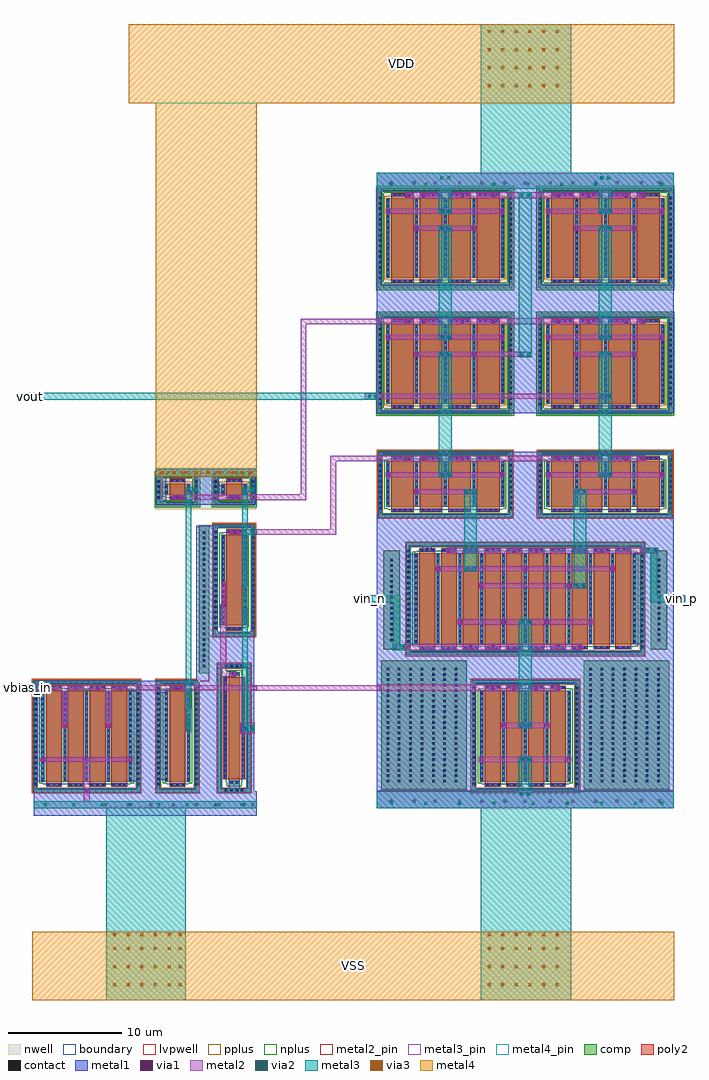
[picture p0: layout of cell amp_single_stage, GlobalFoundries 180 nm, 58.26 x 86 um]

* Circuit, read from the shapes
.subckt amp_single_stage VDD VSS vbias_in vin_n vin_p vout
XM1 vbias_in vbias_in VSS VSS nfet_03v3 w=8u l=1.4u m=4
XM2 amp_bias_1/vbias_1 vbias_in VSS VSS nfet_03v3 w=8u l=1.4u
XM3 amp_bias_1/vbias_2 amp_bias_1/vbias_2 n1 VSS nfet_03v3 w=8u l=1.4u
XM4 n1 amp_bias_1/vbias_2 VSS VSS nfet_03v3 w=1u l=9u
XM5 n2 amp_bias_1/vbias_2 n3 VSS nfet_03v3 w=4u l=2u m=4
XM6 n2 VSS VSS VSS nfet_03v3 w=8u l=1.4u m=2
XM7 n4 vin_p n2 VSS nfet_03v3 w=8u l=1.4u m=4
XM8 n5 vin_n n4 VSS nfet_03v3 w=8u l=1.4u m=4
XM9 n4 vbias_in VSS VSS nfet_03v3 w=8u l=1.4u m=4
XM10 n5 amp_bias_1/vbias_2 vout VSS nfet_03v3 w=4u l=2u m=4
XM11 amp_bias_1/vbias_1 amp_bias_1/vbias_1 VDD VDD pfet_03v3 w=1u l=1.4u
XM12 amp_bias_1/vbias_2 amp_bias_1/vbias_1 VDD VDD pfet_03v3 w=1u l=1.4u
XM13 n3 amp_bias_1/vbias_1 n6 VDD pfet_03v3 w=7u l=2u m=4
XM14 n6 n3 VDD VDD pfet_03v3 w=7u l=2u m=4
XM15 vout amp_bias_1/vbias_1 n7 VDD pfet_03v3 w=7u l=2u m=4
XM16 n7 n3 VDD VDD pfet_03v3 w=7u l=2u m=4
.ends

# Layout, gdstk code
from math import pi, radians
import gdstk
lib = gdstk.Library(unit=1e-6, precision=1e-09)
def R(c, l, rs):  # rectangles x0, y0, x1, y1
    for r in rs: c.add(gdstk.rectangle(r[:2], r[2:], *l))
def A(c, l, x, y, w, h, nx, ny, dx, dy):  # array of equal rectangles
    R(c, l, [(x+i*dx, y+j*dy, x+i*dx+w, y+j*dy+h) for i in range(nx) for j in range(ny)])
boundary = (0, 0)
nwell = (21, 0)
comp = (22, 0)
poly2 = (30, 0)
pplus = (31, 0)
nplus = (32, 0)
contact = (33, 0)
metal1 = (34, 0)
via1 = (35, 0)
metal2 = (36, 0)
metal2_pin = (36, 10)
via2 = (38, 0)
via3 = (40, 0)
metal3 = (42, 0)
metal3_pin = (42, 10)
metal4 = (46, 0)
metal4_pin = (46, 10)
lvpwell = (204, 0)

nfet_03v3_x75x2d = lib.new_cell('nfet_03v3_X75X2D')
R(nfet_03v3_x75x2d, boundary, [(-10.29,-4.75,10.29,4.75)])
R(nfet_03v3_x75x2d, comp, [(-10.47,-4.93,10.47,-4.57), (-10.47,-4.57,-10.11,4.57), (10.11,-4.57,10.47,4.57), (-9.78,-4,9.78,4), (-10.47,4.57,10.47,4.93)])
A(nfet_03v3_x75x2d, poly2, -9.34, -4.46, 1.4, 8.92, 10, 1, 1.92, 0)
R(nfet_03v3_x75x2d, pplus, [(-10.49,-4.95,10.49,-4.55), (-10.49,-4.55,-10.08,-4.445), (10.08,-4.55,10.49,-4.445), (-10.5,-4.445,-10.08,4.445), (10.08,-4.445,10.5,4.445), (-10.49,4.445,-10.08,4.55), (10.08,4.445,10.49,4.55), (-10.49,4.55,10.49,4.95)])
R(nfet_03v3_x75x2d, nplus, [(-9.57,-4.23,9.57,-4.16), (-9.94,-4.16,9.94,4.16), (-9.57,4.16,9.57,4.23)])
A(nfet_03v3_x75x2d, contact, -9.22, -4.39, 0.22, 0.22, 3, 2, 0.47, 8.56)
A(nfet_03v3_x75x2d, contact, -7.3, -4.39, 0.22, 0.22, 3, 2, 0.47, 8.56)
A(nfet_03v3_x75x2d, contact, -5.38, -4.39, 0.22, 0.22, 3, 2, 0.47, 8.56)
A(nfet_03v3_x75x2d, contact, -3.46, -4.39, 0.22, 0.22, 3, 2, 0.47, 8.56)
A(nfet_03v3_x75x2d, contact, -1.54, -4.39, 0.22, 0.22, 3, 2, 0.47, 8.56)
A(nfet_03v3_x75x2d, contact, 0.38, -4.39, 0.22, 0.22, 3, 2, 0.47, 8.56)
A(nfet_03v3_x75x2d, contact, 2.3, -4.39, 0.22, 0.22, 3, 2, 0.47, 8.56)
A(nfet_03v3_x75x2d, contact, 4.22, -4.39, 0.22, 0.22, 3, 2, 0.47, 8.56)
A(nfet_03v3_x75x2d, contact, 6.14, -4.39, 0.22, 0.22, 3, 2, 0.47, 8.56)
A(nfet_03v3_x75x2d, contact, 8.06, -4.39, 0.22, 0.22, 3, 2, 0.47, 8.56)
A(nfet_03v3_x75x2d, contact, -10.4, -4.34, 0.22, 0.22, 1, 19, 0, 0.47)
A(nfet_03v3_x75x2d, contact, 10.18, -4.34, 0.22, 0.22, 1, 19, 0, 0.47)
A(nfet_03v3_x75x2d, contact, -9.71, -3.87, 0.22, 0.22, 11, 17, 1.92, 0.47)
A(nfet_03v3_x75x2d, metal1, -9.33, -4.395, 1.38, 0.23, 10, 2, 1.92, 8.56)
A(nfet_03v3_x75x2d, metal1, -9.715, -3.99, 0.23, 7.98, 11, 1, 1.92, 0)
R(nfet_03v3_x75x2d, metal1, [(-10.405,-4.865,10.405,-4.635), (-10.405,-4.635,-10.175,4.635), (10.175,-4.635,10.405,4.635), (-10.405,4.635,10.405,4.865)])
R(nfet_03v3_x75x2d, lvpwell, [(-10.59,-5.05,10.59,5.05)])

pfet_03v3_w5sfvu = lib.new_cell('pfet_03v3_W5SFVU')
R(pfet_03v3_w5sfvu, boundary, [(-5.73,-4.25,5.73,4.25)])
R(pfet_03v3_w5sfvu, nwell, [(-6.03,-4.55,6.03,4.55)])
R(pfet_03v3_w5sfvu, comp, [(-5.91,-4.43,5.91,-4.07), (-5.91,-4.07,-5.55,4.07), (5.55,-4.07,5.91,4.07), (-5.22,-3.5,5.22,3.5), (-5.91,4.07,5.91,4.43)])
A(pfet_03v3_w5sfvu, poly2, -4.78, -3.96, 2, 7.92, 4, 1, 2.52, 0)
R(pfet_03v3_w5sfvu, pplus, [(-5.01,-3.73,5.01,-3.66), (-5.38,-3.66,5.38,3.66), (-5.01,3.66,5.01,3.73)])
R(pfet_03v3_w5sfvu, nplus, [(-6.07,-4.59,6.07,-3.96), (-6.07,-3.96,-5.44,3.96), (5.44,-3.96,6.07,3.96), (-6.07,3.96,6.07,4.59)])
A(pfet_03v3_w5sfvu, contact, -4.595, -3.89, 0.22, 0.22, 4, 2, 0.47, 7.56)
A(pfet_03v3_w5sfvu, contact, -2.075, -3.89, 0.22, 0.22, 4, 2, 0.47, 7.56)
A(pfet_03v3_w5sfvu, contact, 0.445, -3.89, 0.22, 0.22, 4, 2, 0.47, 7.56)
A(pfet_03v3_w5sfvu, contact, 2.965, -3.89, 0.22, 0.22, 4, 2, 0.47, 7.56)
A(pfet_03v3_w5sfvu, contact, -5.84, -3.635, 0.22, 0.22, 1, 16, 0, 0.47)
A(pfet_03v3_w5sfvu, contact, 5.62, -3.635, 0.22, 0.22, 1, 16, 0, 0.47)
A(pfet_03v3_w5sfvu, contact, -5.15, -3.4, 0.22, 0.22, 5, 15, 2.52, 0.47)
A(pfet_03v3_w5sfvu, metal1, -4.77, -3.895, 1.98, 0.23, 4, 2, 2.52, 7.56)
A(pfet_03v3_w5sfvu, metal1, -5.155, -3.49, 0.23, 6.98, 5, 1, 2.52, 0)
R(pfet_03v3_w5sfvu, metal1, [(-5.845,-4.365,5.845,-4.135), (-5.845,-4.135,-5.615,4.135), (5.615,-4.135,5.845,4.135), (-5.845,4.135,5.845,4.365)])

nfet_03v3_d3xtxl = lib.new_cell('nfet_03v3_D3XTXL')
R(nfet_03v3_d3xtxl, boundary, [(-5.73,-2.75,5.73,2.75)])
R(nfet_03v3_d3xtxl, comp, [(-5.91,-2.93,5.91,-2.57), (-5.91,-2.57,-5.55,2.57), (5.55,-2.57,5.91,2.57), (-5.22,-2,5.22,2), (-5.91,2.57,5.91,2.93)])
A(nfet_03v3_d3xtxl, poly2, -4.78, -2.46, 2, 4.92, 4, 1, 2.52, 0)
R(nfet_03v3_d3xtxl, pplus, [(-5.93,-2.95,5.93,-2.55), (-5.93,-2.55,-5.52,-2.445), (5.52,-2.55,5.93,-2.445), (-5.94,-2.445,-5.52,2.445), (5.52,-2.445,5.94,2.445), (-5.93,2.445,-5.52,2.55), (5.52,2.445,5.93,2.55), (-5.93,2.55,5.93,2.95)])
R(nfet_03v3_d3xtxl, nplus, [(-5.01,-2.23,5.01,-2.16), (-5.38,-2.16,5.38,2.16), (-5.01,2.16,5.01,2.23)])
A(nfet_03v3_d3xtxl, contact, -4.595, -2.39, 0.22, 0.22, 4, 2, 0.47, 4.56)
A(nfet_03v3_d3xtxl, contact, -2.075, -2.39, 0.22, 0.22, 4, 2, 0.47, 4.56)
A(nfet_03v3_d3xtxl, contact, 0.445, -2.39, 0.22, 0.22, 4, 2, 0.47, 4.56)
A(nfet_03v3_d3xtxl, contact, 2.965, -2.39, 0.22, 0.22, 4, 2, 0.47, 4.56)
A(nfet_03v3_d3xtxl, contact, -5.84, -2.225, 0.22, 0.22, 1, 10, 0, 0.47)
A(nfet_03v3_d3xtxl, contact, 5.62, -2.225, 0.22, 0.22, 1, 10, 0, 0.47)
A(nfet_03v3_d3xtxl, contact, -5.15, -1.755, 0.22, 0.22, 5, 8, 2.52, 0.47)
A(nfet_03v3_d3xtxl, metal1, -4.77, -2.395, 1.98, 0.23, 4, 2, 2.52, 4.56)
A(nfet_03v3_d3xtxl, metal1, -5.155, -1.99, 0.23, 3.98, 5, 1, 2.52, 0)
R(nfet_03v3_d3xtxl, metal1, [(-5.845,-2.865,5.845,-2.635), (-5.845,-2.635,-5.615,2.635), (5.615,-2.635,5.845,2.635), (-5.845,2.635,5.845,2.865)])
R(nfet_03v3_d3xtxl, lvpwell, [(-6.03,-3.05,6.03,3.05)])

nfet_03v3_8eaytp = lib.new_cell('nfet_03v3_8EAYTP')
R(nfet_03v3_8eaytp, boundary, [(-4.53,-4.75,4.53,4.75)])
R(nfet_03v3_8eaytp, comp, [(-4.71,-4.93,4.71,-4.57), (-4.71,-4.57,-4.35,4.57), (4.35,-4.57,4.71,4.57), (-4.02,-4,4.02,4), (-4.71,4.57,4.71,4.93)])
A(nfet_03v3_8eaytp, poly2, -3.58, -4.46, 1.4, 8.92, 4, 1, 1.92, 0)
R(nfet_03v3_8eaytp, pplus, [(-4.73,-4.95,4.73,-4.55), (-4.73,-4.55,-4.32,-4.445), (4.32,-4.55,4.73,-4.445), (-4.74,-4.445,-4.32,4.445), (4.32,-4.445,4.74,4.445), (-4.73,4.445,-4.32,4.55), (4.32,4.445,4.73,4.55), (-4.73,4.55,4.73,4.95)])
R(nfet_03v3_8eaytp, nplus, [(-3.81,-4.23,3.81,-4.16), (-4.18,-4.16,4.18,4.16), (-3.81,4.16,3.81,4.23)])
A(nfet_03v3_8eaytp, contact, -3.46, -4.39, 0.22, 0.22, 3, 2, 0.47, 8.56)
A(nfet_03v3_8eaytp, contact, -1.54, -4.39, 0.22, 0.22, 3, 2, 0.47, 8.56)
A(nfet_03v3_8eaytp, contact, 0.38, -4.39, 0.22, 0.22, 3, 2, 0.47, 8.56)
A(nfet_03v3_8eaytp, contact, 2.3, -4.39, 0.22, 0.22, 3, 2, 0.47, 8.56)
A(nfet_03v3_8eaytp, contact, -4.64, -4.34, 0.22, 0.22, 1, 19, 0, 0.47)
A(nfet_03v3_8eaytp, contact, 4.42, -4.34, 0.22, 0.22, 1, 19, 0, 0.47)
A(nfet_03v3_8eaytp, contact, -3.95, -3.87, 0.22, 0.22, 5, 17, 1.92, 0.47)
A(nfet_03v3_8eaytp, metal1, -3.57, -4.395, 1.38, 0.23, 4, 2, 1.92, 8.56)
A(nfet_03v3_8eaytp, metal1, -3.955, -3.99, 0.23, 7.98, 5, 1, 1.92, 0)
R(nfet_03v3_8eaytp, metal1, [(-4.645,-4.865,4.645,-4.635), (-4.645,-4.635,-4.415,4.635), (4.415,-4.635,4.645,4.635), (-4.645,4.635,4.645,4.865)])
R(nfet_03v3_8eaytp, lvpwell, [(-4.83,-5.05,4.83,5.05)])

amp_stg_1 = lib.new_cell('amp_stg_1')
R(amp_stg_1, comp, [(50.25,-79.45,57.75,-68.1), (68.1,-79.45,75.6,-68.1), (50.45,-67.1,51.85,-58.4), (74,-67.1,75.4,-58.4)])
R(amp_stg_1, pplus, [(50.23,-79.47,57.77,-68.08), (68.08,-79.47,75.62,-68.08), (50.43,-67.12,51.87,-58.38), (73.98,-67.12,75.42,-58.38)])
A(amp_stg_1, contact, 50.71, -78.82, 0.22, 0.22, 7, 22, 1, 0.47)
A(amp_stg_1, contact, 68.56, -78.82, 0.22, 0.22, 7, 22, 1, 0.47)
A(amp_stg_1, contact, 51.04, -66.385, 0.22, 0.22, 1, 16, 0, 0.47)
A(amp_stg_1, contact, 74.59, -66.385, 0.22, 0.22, 1, 16, 0, 0.47)
A(amp_stg_1, metal1, 58.9, -76.99, 0.38, 0.38, 3, 1, 3.84, 0)
A(amp_stg_1, metal1, 59.86, -70.65, 0.38, 0.29, 4, 1, 1.92, 0)
A(amp_stg_1, metal1, 56.98, -64.89, 0.38, 0.38, 4, 1, 3.84, 0)
A(amp_stg_1, metal1, 55.06, -60.19, 0.38, 0.38, 3, 1, 7.68, 0)
A(amp_stg_1, metal1, 50.65, -51.89, 0.38, 0.38, 3, 2, 5.04, 12.1)
A(amp_stg_1, metal1, 64.75, -51.89, 0.38, 0.38, 3, 2, 5.04, 12.1)
A(amp_stg_1, metal1, 64.825, -34.34, 0.23, 0.055, 5, 2, 2.52, 6.925)
A(amp_stg_1, metal1, 50.65, -28.69, 0.38, 0.38, 3, 1, 5.04, 0)
A(amp_stg_1, metal1, 64.75, -28.69, 0.38, 0.38, 3, 1, 5.04, 0)
R(amp_stg_1, metal1, [(49.85,-81.1,76.01,-79.5), (49.85,-79.5,58.55,-69.98), (67.31,-79.5,76.01,-69.98), (60.82,-73.99,61.2,-73.61), (64.66,-73.99,65.04,-73.61), (49.85,-69.98,76.01,-67.45), (49.85,-67.45,58.05,-67.29), (58.29,-67.45,67.57,-67.3), (67.8,-67.45,76.01,-67.29), (49.85,-67.29,52.75,-66.64), (73.11,-67.29,76.01,-66.64), (57.94,-67.04,58.32,-66.75), (59.86,-67.04,60.24,-66.75), (65.62,-67.04,66,-66.75), (67.54,-67.04,67.92,-66.75), (49.85,-66.64,53.445,-58.66), (72.415,-66.64,76.01,-58.66), (58.9,-61.69,59.28,-61.31), (66.58,-61.69,66.96,-61.31), (49.85,-58.66,52.75,-57.98), (73.11,-58.66,76.01,-57.98), (56.02,-58.55,56.4,-58.26), (61.78,-58.55,62.16,-58.26), (63.7,-58.55,64.08,-58.26), (69.46,-58.55,69.84,-58.26), (53.9,-58.485,54.68,-57.98), (71.18,-58.485,71.96,-57.98), (49.85,-57.98,76.01,-55.3), (50.04,-55.3,50.29,-55.2), (61.5,-55.3,64.37,-49.69), (75.57,-55.3,75.82,-55.2), (53.17,-53.39,53.55,-53.01), (58.21,-53.39,58.59,-53.01), (67.27,-53.39,67.65,-53.01), (72.31,-53.39,72.69,-53.01), (52.355,-50.45,52.735,-50.16), (53.84,-50.45,54.22,-50.16), (57.18,-50.45,57.56,-50.16), (59.88,-50.45,60.26,-50.16), (65.6,-50.45,65.98,-50.16), (68.3,-50.45,68.68,-50.16), (71.64,-50.45,72.02,-50.16), (73.125,-50.45,73.505,-50.16), (49.85,-46.32,50.3,-37.82), (61.5,-46.32,64.37,-37.82), (75.55,-46.32,76.01,-37.82), (53.17,-41.29,53.55,-40.91), (58.21,-41.29,58.59,-40.91), (67.27,-41.29,67.65,-40.91), (72.31,-41.29,72.69,-40.91), (52.355,-38.35,52.735,-38.06), (53.84,-38.35,54.22,-38.06), (57.18,-38.35,57.56,-38.06), (59.88,-38.35,60.26,-38.06), (65.6,-38.35,65.98,-38.06), (68.3,-38.35,68.68,-38.06), (71.64,-38.35,72.02,-38.06), (73.125,-38.35,73.505,-38.06), (49.85,-37.82,76.01,-34.98), (49.85,-34.98,50.3,-26.6), (61.5,-34.98,64.37,-26.715), (75.55,-34.98,76.01,-26.715), (65.21,-34.745,65.265,-34.515), (67.135,-34.745,67.19,-34.515), (67.73,-34.745,67.785,-34.515), (69.655,-34.745,69.71,-34.515), (70.25,-34.745,70.305,-34.515), (72.175,-34.745,72.23,-34.515), (72.77,-34.745,72.825,-34.515), (74.695,-34.745,74.75,-34.515), (53.17,-30.19,53.55,-29.81), (58.21,-30.19,58.59,-29.81), (67.27,-30.19,67.65,-29.81), (72.31,-30.19,72.69,-29.81), (52.355,-27.25,52.735,-26.96), (53.84,-27.25,54.22,-26.96), (57.18,-27.25,57.56,-26.96), (59.88,-27.25,60.26,-26.96), (65.6,-27.25,65.98,-26.96), (68.3,-27.25,68.68,-26.96), (71.64,-27.25,72.02,-26.96), (73.125,-27.25,73.505,-26.96), (61.5,-26.715,76.01,-26.6), (49.85,-26.6,76.01,-25.1)])
A(amp_stg_1, via1, 57, -80.6, 0.26, 0.26, 3, 2, 2, 54.5)
A(amp_stg_1, via1, 65, -80.6, 0.26, 0.26, 3, 2, 2, 54.5)
A(amp_stg_1, via1, 58.96, -76.93, 0.26, 0.26, 3, 1, 3.84, 0)
A(amp_stg_1, via1, 59.92, -70.62, 0.26, 0.26, 4, 1, 1.92, 0)
A(amp_stg_1, via1, 57.04, -64.83, 0.26, 0.26, 4, 1, 3.84, 0)
A(amp_stg_1, via1, 55.12, -60.13, 0.26, 0.26, 3, 1, 7.68, 0)
A(amp_stg_1, via1, 50.71, -51.83, 0.26, 0.26, 3, 2, 5.04, 12.1)
A(amp_stg_1, via1, 64.81, -51.83, 0.26, 0.26, 3, 2, 5.04, 12.1)
A(amp_stg_1, via1, 50.71, -28.63, 0.26, 0.26, 3, 1, 5.04, 0)
A(amp_stg_1, via1, 64.81, -28.63, 0.26, 0.26, 3, 1, 5.04, 0)
R(amp_stg_1, via1, [(51,-80.6,51.26,-80.34), (53,-80.6,53.26,-80.34), (54.87,-80.6,55.13,-80.34), (62.8,-80.6,63.06,-80.34), (70.87,-80.6,71.13,-80.34), (73,-80.6,73.26,-80.34), (74.6,-80.6,74.86,-80.34), (60.88,-73.93,61.14,-73.67), (64.72,-73.93,64.98,-73.67), (58,-67.04,58.26,-66.78), (59.92,-67.04,60.18,-66.78), (65.68,-67.04,65.94,-66.78), (67.6,-67.04,67.86,-66.78), (58.96,-61.63,59.22,-61.37), (66.64,-61.63,66.9,-61.37), (56.08,-58.52,56.34,-58.26), (61.84,-58.52,62.1,-58.26), (63.76,-58.52,64.02,-58.26), (69.52,-58.52,69.78,-58.26), (53.23,-53.33,53.49,-53.07), (58.27,-53.33,58.53,-53.07), (67.33,-53.33,67.59,-53.07), (72.37,-53.33,72.63,-53.07), (52.415,-50.42,52.675,-50.16), (53.9,-50.42,54.16,-50.16), (57.24,-50.42,57.5,-50.16), (59.94,-50.42,60.2,-50.16), (65.66,-50.42,65.92,-50.16), (68.36,-50.42,68.62,-50.16), (71.7,-50.42,71.96,-50.16), (73.185,-50.42,73.445,-50.16), (53.23,-41.23,53.49,-40.97), (58.27,-41.23,58.53,-40.97), (67.33,-41.23,67.59,-40.97), (72.37,-41.23,72.63,-40.97), (52.415,-38.32,52.675,-38.06), (53.9,-38.32,54.16,-38.06), (57.24,-38.32,57.5,-38.06), (59.94,-38.32,60.2,-38.06), (65.66,-38.32,65.92,-38.06), (68.36,-38.32,68.62,-38.06), (71.7,-38.32,71.96,-38.06), (73.185,-38.32,73.445,-38.06), (53.23,-30.13,53.49,-29.87), (58.27,-30.13,58.53,-29.87), (67.33,-30.13,67.59,-29.87), (72.37,-30.13,72.63,-29.87), (52.415,-27.22,52.675,-26.96), (53.9,-27.22,54.16,-26.96), (57.24,-27.22,57.5,-26.96), (59.94,-27.22,60.2,-26.96), (65.66,-27.22,65.92,-26.96), (68.36,-27.22,68.62,-26.96), (71.7,-27.22,71.96,-26.96), (73.185,-27.22,73.445,-26.96), (51,-26.1,51.26,-25.84), (53,-26.1,53.26,-25.84), (54.87,-26.1,55.13,-25.84), (62.8,-26.1,63.06,-25.84), (70.87,-26.1,71.13,-25.84), (73,-26.1,73.26,-25.84), (74.6,-26.1,74.86,-25.84)])
R(amp_stg_1, metal2, [(49.85,-81.1,76.01,-79.5), (58.89,-77.05,66.97,-76.55), (60.81,-74.05,65.05,-73.55), (49.85,-70.74,65.98,-70.24), (51.2,-67.16,67.93,-66.66), (56.97,-64.95,68.89,-64.45), (58.89,-61.72,68.32,-61.28), (55.05,-60.22,70.81,-59.78), (56.01,-58.64,74.66,-58.14), (53.16,-53.42,58.66,-52.98), (67.2,-53.42,72.7,-52.98), (50.65,-51.92,61.11,-51.48), (64.75,-51.92,75.21,-51.48), (49.85,-50.54,73.52,-50.04), (49.85,-45.02,70.54,-44.58), (53.16,-41.32,63.49,-40.88), (67.26,-41.32,72.7,-40.88), (50.65,-39.82,61.11,-39.38), (64.75,-39.82,75.21,-39.38), (49.85,-38.44,73.52,-37.94), (53.16,-30.22,58.6,-29.78), (67.26,-30.22,72.7,-29.78), (50.65,-28.72,61.11,-28.28), (64.75,-28.72,75.21,-28.28), (52.34,-27.34,73.52,-26.84), (49.85,-26.53,76.01,-25.1)])
R(amp_stg_1, metal2_pin, [(49.85,-81.1,76.01,-79.5), (49.85,-70.65,50.15,-70.35), (49.85,-50.45,50.15,-50.15), (49.85,-45,50.35,-44.6), (49.85,-38.35,50.15,-38.05), (49.85,-26.5,76.01,-25.1)])
R(amp_stg_1, via2, [(62.5,-79.99,62.76,-79.73), (63.1,-79.99,63.36,-79.73), (62.5,-76.93,62.76,-76.67), (63.1,-76.93,63.36,-76.67), (62.5,-73.93,62.76,-73.67), (63.1,-73.93,63.36,-73.67), (51.35,-67.04,51.61,-66.78), (51.95,-67.04,52.21,-66.78), (62.5,-64.83,62.76,-64.57), (63.1,-64.83,63.36,-64.57), (67.33,-61.63,67.59,-61.37), (67.93,-61.63,68.19,-61.37), (57.67,-60.13,57.93,-59.87), (58.27,-60.13,58.53,-59.87), (73.65,-58.52,73.91,-58.26), (74.25,-58.52,74.51,-58.26), (57.67,-53.33,57.93,-53.07), (58.27,-53.33,58.53,-53.07), (67.33,-53.33,67.59,-53.07), (67.93,-53.33,68.19,-53.07), (55.45,-51.83,55.71,-51.57), (56.05,-51.83,56.31,-51.57), (69.55,-51.83,69.81,-51.57), (70.15,-51.83,70.41,-51.57), (69.55,-44.93,69.81,-44.67), (70.15,-44.93,70.41,-44.67), (55.45,-41.23,55.71,-40.97), (56.05,-41.23,56.31,-40.97), (62.5,-41.23,62.76,-40.97), (63.1,-41.23,63.36,-40.97), (69.55,-41.23,69.81,-40.97), (70.15,-41.23,70.41,-40.97), (55.45,-39.73,55.71,-39.47), (56.05,-39.73,56.31,-39.47), (69.55,-39.73,69.81,-39.47), (70.15,-39.73,70.41,-39.47), (55.45,-30.13,55.71,-29.87), (56.05,-30.13,56.31,-29.87), (69.55,-30.13,69.81,-29.87), (70.15,-30.13,70.41,-29.87), (55.45,-28.63,55.71,-28.37), (56.05,-28.63,56.31,-28.37), (69.55,-28.63,69.81,-28.37), (70.15,-28.63,70.41,-28.37), (62.5,-27.22,62.76,-26.96), (63.1,-27.22,63.36,-26.96), (55.45,-25.69,55.71,-25.43), (56.05,-25.69,56.31,-25.43), (69.55,-25.69,69.81,-25.43), (70.15,-25.69,70.41,-25.43)])
R(amp_stg_1, metal3, [(62.37,-80.12,63.49,-76.55), (62.37,-74.05,63.49,-64.45), (51.22,-67.16,52.32,-66.66), (51.3,-66.66,51.9,-62.95), (49.85,-62.95,51.9,-62.35), (73.96,-62.95,76.01,-62.35), (73.96,-62.35,74.56,-58.64), (67.2,-61.72,68.32,-52.98), (57.54,-60.22,58.66,-52.98), (73.54,-58.64,74.64,-58.14), (55.32,-51.92,56.44,-40.88), (69.42,-51.92,70.54,-40.88), (62.37,-41.35,63.49,-26.84), (55.32,-39.82,56.44,-29.78), (69.42,-39.82,70.54,-29.78), (55.32,-28.72,56.44,-25.24), (69.42,-28.72,70.54,-25.24)])
R(amp_stg_1, metal3_pin, [(49.85,-62.95,50.35,-62.35), (75.51,-62.95,76.01,-62.35)])
R(amp_stg_1, lvpwell, [(50.25,-79.45,57.75,-68.1), (68.1,-79.45,75.6,-68.1), (50.45,-67.1,51.85,-58.4), (74,-67.1,75.4,-58.4)])
amp_stg_1.add(gdstk.Reference(nfet_03v3_x75x2d, (62.93,-62.65)))
amp_stg_1.add(gdstk.Reference(pfet_03v3_w5sfvu, (69.98,-30.85)))
amp_stg_1.add(gdstk.Reference(pfet_03v3_w5sfvu, (55.88,-30.85)))
amp_stg_1.add(gdstk.Reference(pfet_03v3_w5sfvu, (69.98,-41.95)))
amp_stg_1.add(gdstk.Reference(nfet_03v3_d3xtxl, (55.88,-52.55)))
amp_stg_1.add(gdstk.Reference(nfet_03v3_d3xtxl, (69.98,-52.55)))
amp_stg_1.add(gdstk.Reference(nfet_03v3_8eaytp, (62.93,-74.75)))
amp_stg_1.add(gdstk.Reference(pfet_03v3_w5sfvu, (55.88,-41.95)))
amp_stg_1.add(gdstk.Label('VDD', (62.93,-25.8), layer=36, texttype=10))
amp_stg_1.add(gdstk.Label('vout', (50.1,-44.8), layer=36, texttype=10))
amp_stg_1.add(gdstk.Label('vbias_1', (50,-38.2), layer=36, texttype=10))
amp_stg_1.add(gdstk.Label('vbias_2', (50,-50.3), layer=36, texttype=10))
amp_stg_1.add(gdstk.Label('vn', (50.1,-62.65), layer=42, texttype=10))
amp_stg_1.add(gdstk.Label('vp', (75.76,-62.65), layer=42, texttype=10))
amp_stg_1.add(gdstk.Label('vbias_tail', (50,-70.5), layer=36, texttype=10))
amp_stg_1.add(gdstk.Label('VSS', (62.93,-80.3), layer=36, texttype=10))

nfet_03v3_9xyv5a = lib.new_cell('nfet_03v3_9XYV5A')
R(nfet_03v3_9xyv5a, boundary, [(-1.65,-4.75,1.65,4.75)])
R(nfet_03v3_9xyv5a, comp, [(-1.83,-4.93,1.83,-4.57), (-1.83,-4.57,-1.47,4.57), (1.47,-4.57,1.83,4.57), (-1.14,-4,1.14,4), (-1.83,4.57,1.83,4.93)])
R(nfet_03v3_9xyv5a, poly2, [(-0.7,-4.46,0.7,4.46)])
R(nfet_03v3_9xyv5a, pplus, [(-1.85,-4.95,1.85,-4.55), (-1.85,-4.55,-1.44,-4.445), (1.44,-4.55,1.85,-4.445), (-1.86,-4.445,-1.44,4.445), (1.44,-4.445,1.86,4.445), (-1.85,4.445,-1.44,4.55), (1.44,4.445,1.85,4.55), (-1.85,4.55,1.85,4.95)])
R(nfet_03v3_9xyv5a, nplus, [(-0.93,-4.23,0.93,-4.16), (-1.3,-4.16,1.3,4.16), (-0.93,4.16,0.93,4.23)])
A(nfet_03v3_9xyv5a, contact, -0.58, -4.39, 0.22, 0.22, 3, 2, 0.47, 8.56)
A(nfet_03v3_9xyv5a, contact, -1.76, -4.34, 0.22, 0.22, 1, 19, 0, 0.47)
A(nfet_03v3_9xyv5a, contact, 1.54, -4.34, 0.22, 0.22, 1, 19, 0, 0.47)
A(nfet_03v3_9xyv5a, contact, -1.07, -3.87, 0.22, 0.22, 1, 17, 0, 0.47)
A(nfet_03v3_9xyv5a, contact, 0.85, -3.87, 0.22, 0.22, 1, 17, 0, 0.47)
R(nfet_03v3_9xyv5a, metal1, [(-1.765,-4.865,1.765,-4.635), (-1.765,-4.635,-1.535,4.635), (1.535,-4.635,1.765,4.635), (-0.69,-4.395,0.69,-4.165), (-1.075,-3.99,-0.845,3.99), (0.845,-3.99,1.075,3.99), (-0.69,4.165,0.69,4.395), (-1.765,4.635,1.765,4.865)])
R(nfet_03v3_9xyv5a, lvpwell, [(-1.95,-5.05,1.95,5.05)])

nfet_03v3_qx7unh = lib.new_cell('nfet_03v3_QX7UNH')
R(nfet_03v3_qx7unh, boundary, [(-5.45,-1.25,5.45,1.25)])
R(nfet_03v3_qx7unh, comp, [(-5.63,-1.43,5.63,-1.07), (-5.63,-1.07,-5.27,1.07), (5.27,-1.07,5.63,1.07), (-4.94,-0.5,4.94,0.5), (-5.63,1.07,5.63,1.43)])
R(nfet_03v3_qx7unh, poly2, [(-4.5,-0.96,4.5,0.96)])
R(nfet_03v3_qx7unh, pplus, [(-5.65,-1.45,5.65,-1.05), (-5.65,-1.05,-5.24,-0.945), (5.24,-1.05,5.65,-0.945), (-5.66,-0.945,-5.24,0.945), (5.24,-0.945,5.66,0.945), (-5.65,0.945,-5.24,1.05), (5.24,0.945,5.65,1.05), (-5.65,1.05,5.65,1.45)])
R(nfet_03v3_qx7unh, nplus, [(-4.73,-0.73,4.73,-0.66), (-5.1,-0.66,5.1,0.66), (-4.73,0.66,4.73,0.73)])
A(nfet_03v3_qx7unh, contact, -4.34, -0.89, 0.22, 0.22, 19, 2, 0.47, 1.56)
A(nfet_03v3_qx7unh, contact, -5.56, -0.815, 0.22, 0.22, 1, 4, 0, 0.47)
A(nfet_03v3_qx7unh, contact, 5.34, -0.815, 0.22, 0.22, 1, 4, 0, 0.47)
R(nfet_03v3_qx7unh, contact, [(-4.87,-0.345,-4.65,-0.125), (4.65,-0.345,4.87,-0.125), (-4.87,0.125,-4.65,0.345), (4.65,0.125,4.87,0.345)])
R(nfet_03v3_qx7unh, metal1, [(-5.565,-1.365,5.565,-1.135), (-5.565,-1.135,-5.335,1.135), (5.335,-1.135,5.565,1.135), (-4.49,-0.895,4.49,-0.665), (-4.875,-0.49,-4.645,0.49), (4.645,-0.49,4.875,0.49), (-4.49,0.665,4.49,0.895), (-5.565,1.135,5.565,1.365)])
R(nfet_03v3_qx7unh, lvpwell, [(-5.75,-1.55,5.75,1.55)])

pfet_03v3_ty6h95 = lib.new_cell('pfet_03v3_TY6H95')
R(pfet_03v3_ty6h95, boundary, [(-1.65,-1.25,1.65,1.25)])
R(pfet_03v3_ty6h95, nwell, [(-1.95,-1.55,1.95,1.55)])
R(pfet_03v3_ty6h95, comp, [(-1.83,-1.43,1.83,-1.07), (-1.83,-1.07,-1.47,1.07), (1.47,-1.07,1.83,1.07), (-1.14,-0.5,1.14,0.5), (-1.83,1.07,1.83,1.43)])
R(pfet_03v3_ty6h95, poly2, [(-0.7,-0.96,0.7,0.96)])
R(pfet_03v3_ty6h95, pplus, [(-0.93,-0.73,0.93,-0.66), (-1.3,-0.66,1.3,0.66), (-0.93,0.66,0.93,0.73)])
R(pfet_03v3_ty6h95, nplus, [(-1.99,-1.59,1.99,-0.96), (-1.99,-0.96,-1.36,0.96), (1.36,-0.96,1.99,0.96), (-1.99,0.96,1.99,1.59)])
A(pfet_03v3_ty6h95, contact, -0.58, -0.89, 0.22, 0.22, 3, 2, 0.47, 1.56)
A(pfet_03v3_ty6h95, contact, -1.76, -0.815, 0.22, 0.22, 1, 4, 0, 0.47)
A(pfet_03v3_ty6h95, contact, 1.54, -0.815, 0.22, 0.22, 1, 4, 0, 0.47)
R(pfet_03v3_ty6h95, contact, [(-1.07,-0.345,-0.85,-0.125), (0.85,-0.345,1.07,-0.125), (-1.07,0.125,-0.85,0.345), (0.85,0.125,1.07,0.345)])
R(pfet_03v3_ty6h95, metal1, [(-1.765,-1.365,1.765,-1.135), (-1.765,-1.135,-1.535,1.135), (1.535,-1.135,1.765,1.135), (-0.69,-0.895,0.69,-0.665), (-1.075,-0.49,-0.845,0.49), (0.845,-0.49,1.075,0.49), (-0.69,0.665,0.69,0.895), (-1.765,1.135,1.765,1.365)])

amp_bias = lib.new_cell('amp_bias')
R(amp_bias, nwell, [(12.4,-54.75,21.3,-51.25)])
R(amp_bias, comp, [(16.25,-69.2,17.15,-56.2)])
R(amp_bias, pplus, [(16.23,-69.22,17.17,-65.95), (16.23,-65.95,17.5,-65.445), (16.23,-65.445,17.49,-56.555), (16.23,-56.555,17.5,-56.18)])
A(amp_bias, contact, 16.56, -68.685, 0.22, 0.22, 1, 26, 0, 0.47)
A(amp_bias, metal1, 3.28, -70.65, 0.38, 0.29, 4, 1, 1.92, 0)
A(amp_bias, metal1, 3.29, -70.36, 0.36, 0.01, 4, 1, 1.92, 0)
R(amp_bias, metal1, [(1.7,-81.75,21.34,-79.6), (6.16,-79.6,6.54,-79.4), (10.95,-79.6,12.7,-78.6), (16,-79.6,21.12,-79.35), (16,-79.35,18.15,-78), (18.85,-79.35,19.85,-78.75), (20.55,-79.35,21.12,-78), (1.9,-78.74,2.4,-76.98), (10.3,-78.74,10.945,-77.865), (13.275,-78.74,13.505,-78.6), (10.95,-78.6,13.505,-77.865), (16,-78,18.1,-77.865), (20.7,-78,21.12,-68.55), (10.3,-77.865,13.505,-76.98), (16,-77.865,18.15,-68.55), (1.9,-76.98,2.69,-76.62), (6.17,-76.98,6.53,-76.62), (10.01,-76.98,13.505,-76.62), (1.9,-76.62,2.4,-70.76), (10.3,-76.62,13.505,-73.2), (19.97,-74.525,20.23,-73.575), (15.11,-74.35,15.51,-72.15), (4.25,-73.98,4.61,-73.62), (8.09,-73.98,8.45,-73.62), (10.3,-73.2,10.945,-72.8), (10.95,-73.2,13.505,-72.8), (10.3,-72.8,13.505,-71.01), (10.25,-71.01,13.505,-70.9), (10.25,-70.9,12.6,-70.87), (13.275,-70.9,13.505,-70.76), (10.25,-70.87,10.8,-70.76), (10.9,-70.87,12.6,-69.885), (13.875,-70.655,14.825,-70.395), (19.15,-69.5,19.55,-69.1), (16,-68.55,21.12,-67.8), (16,-67.8,21.115,-65.8), (16,-65.8,18,-65.57), (20.7,-65.8,21.115,-65.57), (16,-65.57,17.9,-56.2), (20.11,-63.6,20.51,-61.4), (18.19,-63.35,18.59,-61.15), (18.875,-56.88,19.825,-56.62), (12.45,-54.365,21.25,-54.135), (12.45,-54.135,13.38,-53.35), (16,-54.135,18,-53.3), (20.85,-54.135,21.25,-51.865), (13.875,-53.83,14.825,-53.57), (18.875,-53.83,19.825,-53.57), (12.45,-53.35,13.5,-52.65), (16,-53.3,18.45,-53.2), (15.11,-53.2,15.51,-52.8), (16,-53.2,18.5,-52.8), (20.11,-53.2,20.51,-52.8), (16,-52.8,18.45,-52.7), (16,-52.7,18,-51.865), (12.45,-52.65,13.38,-51.865), (12.45,-51.865,21.34,-51.25)])
A(amp_bias, via1, 7.87, -80.93, 0.26, 0.26, 7, 1, 2, 0)
A(amp_bias, via1, 2.38, -76.93, 0.26, 0.26, 3, 1, 3.84, 0)
A(amp_bias, via1, 15.18, -74.205, 0.26, 0.26, 1, 4, 0, 0.55)
A(amp_bias, via1, 3.34, -70.62, 0.26, 0.26, 4, 1, 1.92, 0)
A(amp_bias, via1, 20.18, -63.455, 0.26, 0.26, 1, 4, 0, 0.55)
A(amp_bias, via1, 18.26, -63.205, 0.26, 0.26, 1, 4, 0, 0.55)
A(amp_bias, via1, 12.75, -51.69, 0.26, 0.26, 14, 1, 0.6, 0)
R(amp_bias, via1, [(20.87,-80.93,21.13,-80.67), (6.22,-79.68,6.48,-79.42), (19.97,-74.455,20.23,-74.195), (4.3,-73.93,4.56,-73.67), (8.14,-73.93,8.4,-73.67), (19.97,-73.905,20.23,-73.645), (13.945,-70.655,14.205,-70.395), (14.495,-70.655,14.755,-70.395), (19.22,-69.43,19.48,-69.17), (18.945,-56.88,19.205,-56.62), (19.495,-56.88,19.755,-56.62), (13.945,-53.83,14.205,-53.57), (14.495,-53.83,14.755,-53.57), (18.945,-53.83,19.205,-53.57), (19.495,-53.83,19.755,-53.57), (15.18,-53.13,15.44,-52.87), (20.18,-53.13,20.44,-52.87)])
R(amp_bias, metal2, [(1.7,-81.1,21.34,-80.5), (6.1,-80.5,6.6,-77), (2.3,-77,10.4,-76.6), (19.875,-74.525,21.15,-73.575), (15.1,-74.4,15.52,-72.15), (4.24,-74,4.62,-73.6), (8.08,-74,8.46,-73.6), (4.18,-73.6,4.68,-70.72), (8.02,-73.6,8.52,-70.72), (1.52,-70.72,21.34,-70.28), (18.14,-69.5,19.55,-69.05), (18.14,-69.05,18.64,-63.15), (20.11,-63.6,20.51,-61.4), (18.19,-63.15,18.59,-61.15), (20.05,-57,21.34,-56.95), (18.86,-56.95,21.34,-56.55), (20.05,-56.55,21.34,-56.5), (13.86,-53.9,21.34,-53.5), (15.06,-53.5,15.56,-53.14), (20.06,-53.5,20.56,-53.49), (15.06,-53.14,16.12,-52.8), (20.06,-53.14,21.15,-52.8), (12.45,-51.865,21.34,-51.25)])
R(amp_bias, metal2_pin, [(1.7,-81.1,21.34,-80.5), (1.52,-70.65,2.02,-70.35), (20.84,-70.65,21.34,-70.35), (20.84,-56.95,21.34,-56.55), (20.84,-53.9,21.34,-53.5), (12.45,-51.865,21.34,-51.25)])
A(amp_bias, via2, 15.18, -74.205, 0.26, 0.26, 1, 4, 0, 0.55)
A(amp_bias, via2, 20.18, -63.455, 0.26, 0.26, 1, 4, 0, 0.55)
R(amp_bias, via2, [(20.18,-74.18,20.44,-73.92), (20.81,-74.18,21.07,-73.92), (20.18,-56.88,20.44,-56.62), (20.81,-56.88,21.07,-56.62), (15.18,-53.13,15.44,-52.87), (15.78,-53.13,16.04,-52.87), (20.18,-53.13,20.44,-52.87), (20.78,-53.13,21.04,-52.87)])
R(amp_bias, metal3, [(15.11,-74.35,15.51,-72.3), (20.06,-74.3,21.15,-73.8), (20.06,-73.8,20.56,-63.45), (15.06,-72.3,15.56,-53.2), (20.11,-63.45,20.51,-61.55), (20.06,-61.55,20.56,-57), (20.05,-57,21.34,-56.5), (20.06,-56.5,20.56,-53.2), (15.06,-53.2,16.12,-52.8), (20.06,-53.2,21.15,-52.8)])
R(amp_bias, lvpwell, [(16,-69.9,17.15,-56.2)])
amp_bias.add(gdstk.Reference(nfet_03v3_9xyv5a, (19.35,-61)))
amp_bias.add(gdstk.Reference(nfet_03v3_qx7unh, (19.35,-74.05), rotation=3*pi/2))
amp_bias.add(gdstk.Reference(pfet_03v3_ty6h95, (19.35,-53)))
amp_bias.add(gdstk.Reference(pfet_03v3_ty6h95, (14.35,-53)))
amp_bias.add(gdstk.Reference(nfet_03v3_9xyv5a, (14.35,-74.75)))
amp_bias.add(gdstk.Reference(nfet_03v3_8eaytp, (6.35,-74.75)))
amp_bias.add(gdstk.Label('VDD', (16.895,-51.557), layer=36, texttype=10))
amp_bias.add(gdstk.Label('VSS', (11.52,-80.8), layer=36, texttype=10))
amp_bias.add(gdstk.Label('vbias_in', (1.77,-70.5), layer=36, texttype=10))
amp_bias.add(gdstk.Label('vbias_in', (21.09,-70.5), layer=36, texttype=10))
amp_bias.add(gdstk.Label('vbias_1', (21.09,-53.7), layer=36, texttype=10))
amp_bias.add(gdstk.Label('vbias_2', (21.09,-56.75), layer=36, texttype=10))

amp_single_stage = lib.new_cell('amp_single_stage')
A(amp_single_stage, metal2, 20.5, -80.94, 0.28, 0.28, 8, 1, 2.5, 0)
A(amp_single_stage, metal2, 51, -80.8, 0.28, 0.28, 4, 1, 3, 0)
A(amp_single_stage, metal2, 63.5, -80.8, 0.28, 0.28, 4, 1, 3, 0)
A(amp_single_stage, metal2, 60, -26.25, 0.28, 0.28, 4, 1, 3, 0)
R(amp_single_stage, metal2, [(74.8,-80.8,75.08,-80.52), (18.75,-70.75,19.85,-70.25), (39.2,-70.75,49.9,-70.25), (39.2,-57,46.25,-56.5), (45.75,-56.5,46.25,-50.55), (39.2,-53.95,43.65,-53.45), (43.15,-53.45,43.65,-38.45), (30.38,-51.88,39.27,-51.15), (45.75,-50.55,49.9,-50.05), (48.8,-45.05,49.9,-44.55), (43.15,-38.45,49.9,-37.95), (51,-26.25,51.28,-25.97), (54,-26.25,54.28,-25.97), (74.8,-26.25,75.08,-25.97)])
A(amp_single_stage, via2, 20.51, -80.93, 0.26, 0.26, 8, 1, 2.5, 0)
A(amp_single_stage, via2, 51.01, -80.79, 0.26, 0.26, 4, 1, 3, 0)
A(amp_single_stage, via2, 63.51, -80.79, 0.26, 0.26, 4, 1, 3, 0)
A(amp_single_stage, via2, 30.81, -51.65, 0.26, 0.26, 6, 1, 1, 0)
A(amp_single_stage, via2, 60.01, -26.24, 0.26, 0.26, 4, 1, 3, 0)
R(amp_single_stage, via2, [(74.81,-80.79,75.07,-80.53), (18.97,-70.63,19.23,-70.37), (19.51,-70.63,19.77,-70.37), (36.91,-51.65,37.17,-51.39), (37.81,-51.65,38.07,-51.39), (38.61,-51.65,38.87,-51.39), (49.07,-44.93,49.33,-44.67), (49.61,-44.93,49.87,-44.67), (51.01,-26.24,51.27,-25.98), (54.01,-26.24,54.27,-25.98), (74.81,-26.24,75.07,-25.98)])
A(amp_single_stage, via3, 26.61, -96.79, 0.26, 0.26, 5, 3, 1.2, 1.6)
A(amp_single_stage, via3, 32.41, -96.79, 0.26, 0.26, 1, 3, 0, 1.6)
A(amp_single_stage, via3, 59.61, -96.79, 0.26, 0.26, 6, 3, 1.2, 1.6)
A(amp_single_stage, via3, 26.61, -92.39, 0.26, 0.26, 5, 1, 1.2, 0)
A(amp_single_stage, via3, 59.61, -92.39, 0.26, 0.26, 6, 2, 1.2, 74.8)
A(amp_single_stage, via3, 30.81, -51.65, 0.26, 0.26, 6, 1, 1, 0)
A(amp_single_stage, via3, 37.01, -51.65, 0.26, 0.26, 3, 1, 0.8, 0)
A(amp_single_stage, via3, 59.61, -15.99, 0.26, 0.26, 6, 3, 1.2, 1.6)
R(amp_single_stage, via3, [(32.41,-92.39,32.67,-92.13)])
R(amp_single_stage, metal3, [(26,-98,33,-81.1), (59,-98,67,-81.1), (19.63,-81.1,39.27,-80.5), (49.85,-81.1,76.01,-79.6), (18.8,-70.8,19.85,-70.2), (48.85,-62.95,49.9,-62.35), (75.96,-62.95,77.01,-62.35), (30.38,-51.88,39.27,-51.15), (19,-45.1,49.9,-44.5), (49.85,-26.53,76.01,-25.1), (59,-25.1,67,-12)])
R(amp_single_stage, metal3_pin, [(18.8,-70.75,19.4,-70.25), (48.85,-62.95,49.5,-62.35), (76.35,-62.95,77,-62.35), (19,-45,19.6,-44.6)])
R(amp_single_stage, metal4, [(19.5,-98,76.05,-92), (30.38,-51.88,39.27,-19), (28,-19,76.05,-12)])
R(amp_single_stage, metal4_pin, [(19.5,-98,76.05,-92), (28,-19,76.05,-12)])
amp_single_stage.add(gdstk.Reference(amp_stg_1, (0,0)))
amp_single_stage.add(gdstk.Reference(amp_bias, (17.93,0)))
amp_single_stage.add(gdstk.Label('VDD', (52.025,-15.5), layer=46, texttype=10))
amp_single_stage.add(gdstk.Label('VSS', (47.775,-95), layer=46, texttype=10))
amp_single_stage.add(gdstk.Label('vbias_in', (19.1,-70.5), layer=42, texttype=10))
amp_single_stage.add(gdstk.Label('vin_p', (76.675,-62.65), layer=42, texttype=10))
amp_single_stage.add(gdstk.Label('vin_n', (49.175,-62.65), layer=42, texttype=10))
amp_single_stage.add(gdstk.Label('vout', (19.3,-44.8), layer=42, texttype=10))

lib.write_gds('amp_single_stage.gds')
